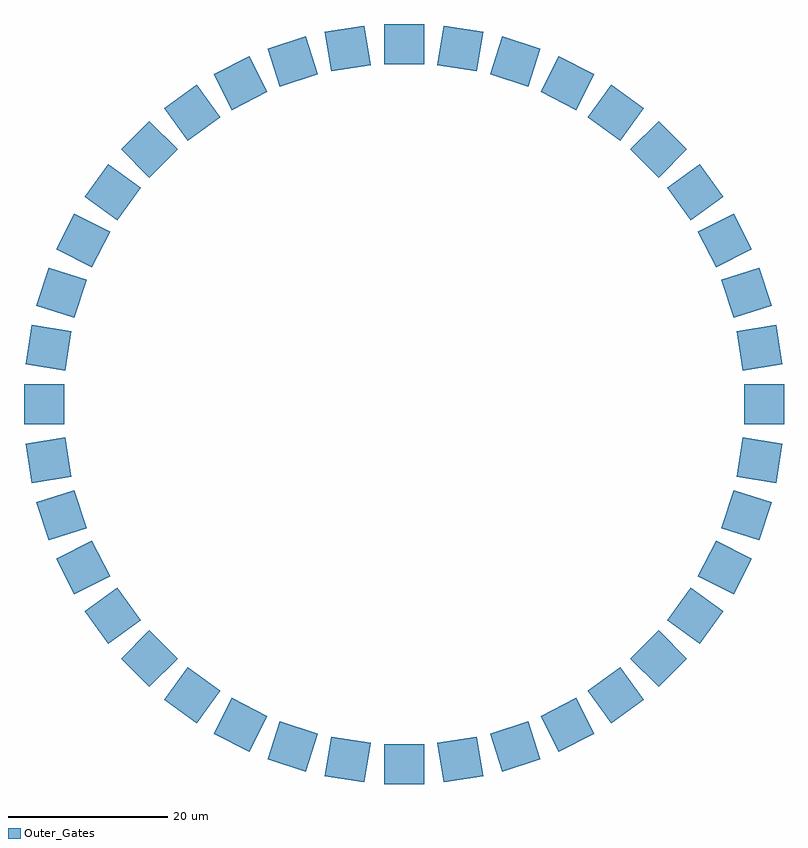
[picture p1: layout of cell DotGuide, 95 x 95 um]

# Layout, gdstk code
import gdstk
lib = gdstk.Library(unit=1e-6, precision=1e-09)
def R(c, l, rs):  # rectangles x0, y0, x1, y1
    for r in rs: c.add(gdstk.rectangle(r[:2], r[2:], *l))
def P(c, l, *ps):  # polygons
    for p in ps: c.add(gdstk.Polygon(p, *l))
Outer_Gates = (7, 0)

dotguide = lib.new_cell('DotGuide')
R(dotguide, Outer_Gates, [(-2.5,-47.5,2.5,-42.5), (-47.5,-2.5,-42.5,2.5), (42.5,-2.5,47.5,2.5), (-2.5,42.5,2.5,47.5)])
P(dotguide, Outer_Gates, [(-9.118,41.586),(-9.9,46.524),(-4.961,47.306),(-4.179,42.368)],
  [(-15.511,39.647),(-17.056,44.403),(-12.301,45.948),(-10.756,41.192)],
  [(-21.522,36.733),(-23.792,41.188),(-19.337,43.458),(-17.067,39.003)],
  [(-27.003,32.914),(-29.942,36.959),(-25.897,39.898),(-22.958,35.853)],
  [(-31.82,28.284),(-35.355,31.82),(-31.82,35.355),(-28.284,31.82)],
  [(-35.853,22.958),(-39.898,25.897),(-36.959,29.942),(-32.914,27.003)],
  [(-39.003,17.067),(-43.458,19.337),(-41.188,23.792),(-36.733,21.522)],
  [(-41.192,10.756),(-45.948,12.301),(-44.403,17.056),(-39.647,15.511)],
  [(-42.368,4.179),(-47.306,4.961),(-46.524,9.9),(-41.586,9.118)],
  [(-46.524,-9.9),(-47.306,-4.961),(-42.368,-4.179),(-41.586,-9.118)],
  [(-44.403,-17.056),(-45.948,-12.301),(-41.192,-10.756),(-39.647,-15.511)],
  [(-41.188,-23.792),(-43.458,-19.337),(-39.003,-17.067),(-36.733,-21.522)],
  [(-36.959,-29.942),(-39.898,-25.897),(-35.853,-22.958),(-32.914,-27.003)],
  [(-31.82,-35.355),(-35.355,-31.82),(-31.82,-28.284),(-28.284,-31.82)],
  [(-25.897,-39.898),(-29.942,-36.959),(-27.003,-32.914),(-22.958,-35.853)],
  [(-19.337,-43.458),(-23.792,-41.188),(-21.522,-36.733),(-17.067,-39.003)],
  [(-12.301,-45.948),(-17.056,-44.403),(-15.511,-39.647),(-10.756,-41.192)],
  [(-4.961,-47.306),(-9.9,-46.524),(-9.118,-41.586),(-4.179,-42.368)],
  [(4.961,-47.306),(4.179,-42.368),(9.118,-41.586),(9.9,-46.524)],
  [(12.301,-45.948),(10.756,-41.192),(15.511,-39.647),(17.056,-44.403)],
  [(19.337,-43.458),(17.067,-39.003),(21.522,-36.733),(23.792,-41.188)],
  [(25.897,-39.898),(22.958,-35.853),(27.003,-32.914),(29.942,-36.959)],
  [(31.82,-35.355),(28.284,-31.82),(31.82,-28.284),(35.355,-31.82)],
  [(36.959,-29.942),(32.914,-27.003),(35.853,-22.958),(39.898,-25.897)],
  [(41.188,-23.792),(36.733,-21.522),(39.003,-17.067),(43.458,-19.337)],
  [(44.403,-17.056),(39.647,-15.511),(41.192,-10.756),(45.948,-12.301)],
  [(46.524,-9.9),(41.586,-9.118),(42.368,-4.179),(47.306,-4.961)],
  [(42.368,4.179),(41.586,9.118),(46.524,9.9),(47.306,4.961)],
  [(41.192,10.756),(39.647,15.511),(44.403,17.056),(45.948,12.301)],
  [(39.003,17.067),(36.733,21.522),(41.188,23.792),(43.458,19.337)],
  [(35.853,22.958),(32.914,27.003),(36.959,29.942),(39.898,25.897)],
  [(31.82,28.284),(28.284,31.82),(31.82,35.355),(35.355,31.82)],
  [(27.003,32.914),(22.958,35.853),(25.897,39.898),(29.942,36.959)],
  [(21.522,36.733),(17.067,39.003),(19.337,43.458),(23.792,41.188)],
  [(15.511,39.647),(10.756,41.192),(12.301,45.948),(17.056,44.403)],
  [(9.118,41.586),(4.179,42.368),(4.961,47.306),(9.9,46.524)])

lib.write_gds('DotGuide.gds')
